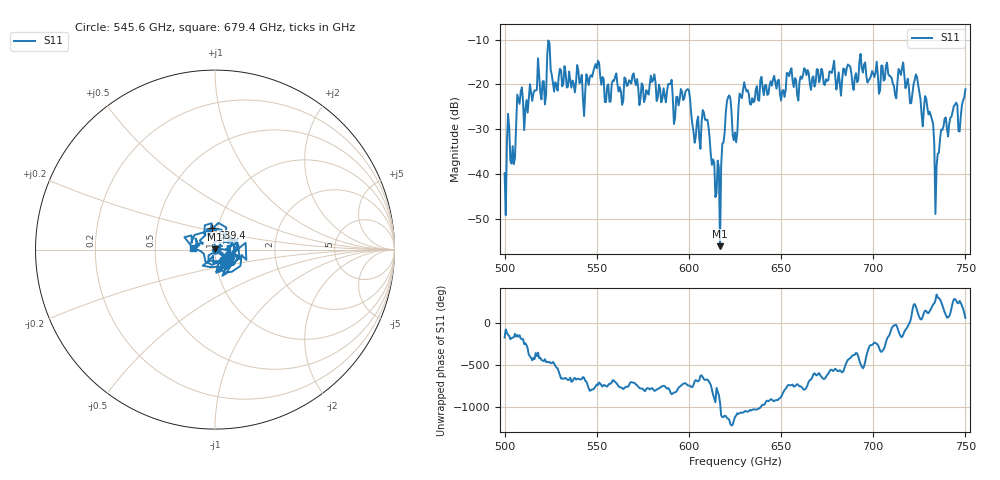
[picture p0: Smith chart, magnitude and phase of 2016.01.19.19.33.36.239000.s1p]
!Created with skrf (http://scikit-rf.org).
# GHz S RI R 50.0
!freq ReS11 ImS11
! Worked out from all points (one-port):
!   401 points, 500 GHz to 750 GHz, reference 50 ohm
!   lowest |S11| = -56.0 dB at 616.9 GHz (marker M1), VSWR 1.00, Z = 49.9 + j0.111 ohm
!   |S11| at or under -10 dB: start of sweep to end of sweep
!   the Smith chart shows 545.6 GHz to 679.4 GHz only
!   S11 on the Smith chart (normalised r, x): 545.6 GHz: 1.10, -0.18; 639.4 GHz: 0.94, +0.23; 679.4 GHz: 0.78, +0.01
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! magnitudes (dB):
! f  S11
! 500 GHz  -39.8
! 502.5 GHz  -29.6
! 504.4 GHz  -33.7
! 508.1 GHz  -24.3
! 521.2 GHz  -19.3
! 524.4 GHz  -10.9
! 527.5 GHz  -19.5
! 531.2 GHz  -20.4
! 545.6 GHz  -20.1
! 562.5 GHz  -20.6
! 593.8 GHz  -22.7
! 599.4 GHz  -21.0
! 603.1 GHz  -33.0
! 608.8 GHz  -27.9
! 615.6 GHz  -36.9
! 616.9 GHz  -56.0
! 621.2 GHz  -22.8
! 625 GHz  -30.7
! 628.8 GHz  -23.0
! 639.4 GHz  -18.3
! 656.2 GHz  -19.2
! 679.4 GHz  -18.2
! 687.5 GHz  -16.0
! 718.8 GHz  -18.7
! 729.4 GHz  -25.2
! 734.4 GHz  -38.1
! 738.1 GHz  -29.3
! 750 GHz  -21.1
